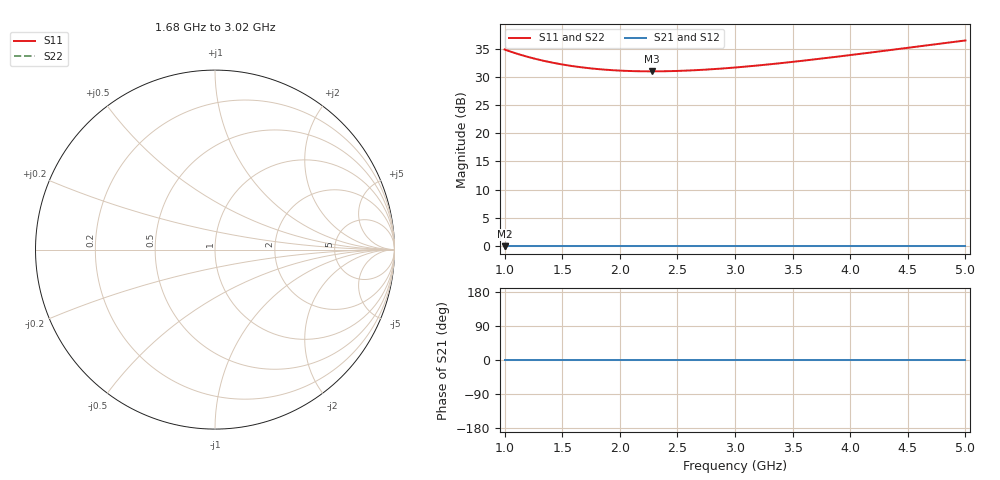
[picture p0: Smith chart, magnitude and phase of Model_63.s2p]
# GHZ S RI R 50
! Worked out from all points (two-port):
!   401 points, 1 GHz to 5 GHz, reference 50 ohm
!   highest |S21| = 0.00 dB at 1 GHz (marker M1); lowest = 0.0 dB at 1 GHz (marker M2)
!   |S21| within 3 dB of the highest: start of sweep to end of sweep
!   lowest |S11| = 31.0 dB at 2.28 GHz (marker M3)
!   |S11| at or under -10 dB: nowhere
!   |S22| runs from 31.0 to 36.4 dB; largest |S21 - S12| = 0
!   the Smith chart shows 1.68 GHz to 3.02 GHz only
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1  55.15 0  1 0  1 0  55.15 0
1.15  49.11 0  1 0  1 0  49.11 0
1.22  46.89 0  1 0  1 0  46.89 0
1.3  44.73 0  1 0  1 0  44.73 0
1.38  42.89 0  1 0  1 0  42.89 0
1.47  41.16 0  1 0  1 0  41.16 0
1.57  39.59 0  1 0  1 0  39.59 0
1.67  38.32 0  1 0  1 0  38.32 0
1.81  37 0  1 0  1 0  37 0
1.96  36.05 0  1 0  1 0  36.05 0
2.12  35.49 0  1 0  1 0  35.49 0
2.28  35.32 0  1 0  1 0  35.32 0
2.34  35.34 0  1 0  1 0  35.34 0
2.5  35.62 0  1 0  1 0  35.62 0
2.66  36.19 0  1 0  1 0  36.19 0
3  38.2 0  1 0  1 0  38.2 0
3.33  41.06 0  1 0  1 0  41.06 0
3.67  44.84 0  1 0  1 0  44.84 0
4  49.21 0  1 0  1 0  49.21 0
4.34  54.41 0  1 0  1 0  54.41 0
4.63  59.36 0  1 0  1 0  59.36 0
5  66.33 0  1 0  1 0  66.33 0
